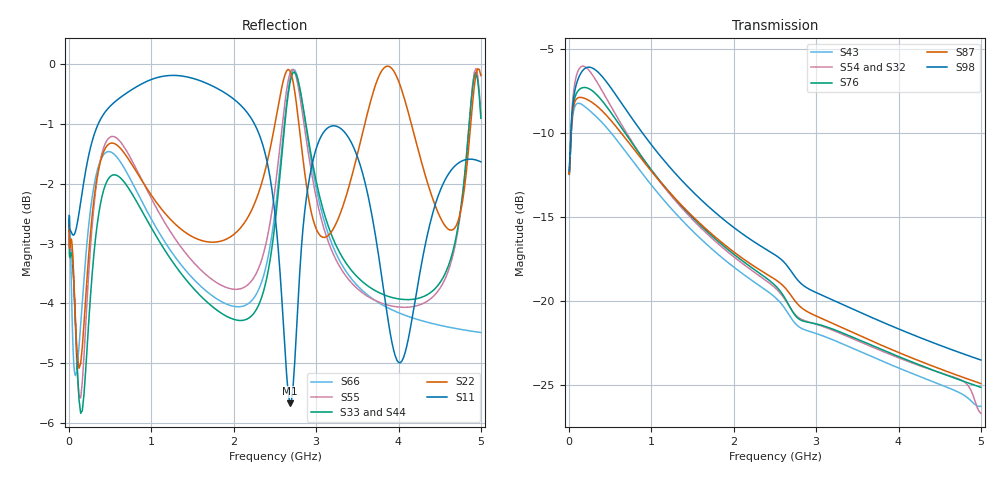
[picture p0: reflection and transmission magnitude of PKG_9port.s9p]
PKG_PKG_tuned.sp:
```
.SUBCKT PKG_PKG_9port_s9p_tuned
+			1
+			ngnd
+			2
+			3
+			4
+			5
+			6
+			7
+			8
+			9


* NOTE - This is the Topology Workbench generated subcircuit definition for the S Parameter File:
* PKG_9port.s9p
* Editing of subcircuit definition is NOT recommended.

*Define the S element


.MODEL   Spara   S		
+		TSTONEFILE = "D:/Projects/HardwareDesign/Sigrity/ac_multi_ic/asi_models/PKG_9port.s9p"
+ optimizeZ0 = 1

S		
+			1
+			2
+			3
+			4
+			5
+			6
+			7
+			8
+			9
+			ngnd
+			MNAME = Spara

*
.ENDS
*
*
```
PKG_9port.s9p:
! Port1_U1::
! Port2_D1_479::
! Port4_D1_478::
! Port6_D1_477::
! Port8_D1_476::
! Port10_D1_475::
! Port12_D1_474::
! Port14_D1_473::
! Port16_D1_472::
!BroadbandSPICE Version: 19.0.1.04171.211823  001
!TouchstoneFormatFlag = 1
! GNDNET
!NETSLIST
!(null)
#	Hz	S	RI	R	0.1
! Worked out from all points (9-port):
!   346 points, 1 kHz to 5 GHz, reference 0.1 ohm
!   strongest paths, dB at 1 kHz, 19.95 MHz, 1.56 GHz, 3.28 GHz, 5 GHz:
!     S98: -12.3, -10.2, -13.8, -20.1, -23.5
!     S87: -12.4, -10.4, -15.3, -21.5, -24.9
!     S76: -12.3, -10.5, -15.3, -21.8, -25.2
!     S54: -12.3, -10.3, -15.5, -21.9, -26.7
!     S32: -12.3, -10.5, -15.5, -21.9, -26.9
!     S43: -12.4, -10.8, -16.1, -22.5, -26.3
!   lowest |S11| = -5.7 dB at 2.68 GHz (marker M1), VSWR 3.17, Z = 0.0325 + j0.0166 ohm
!   |S11| at or under -10 dB: nowhere
